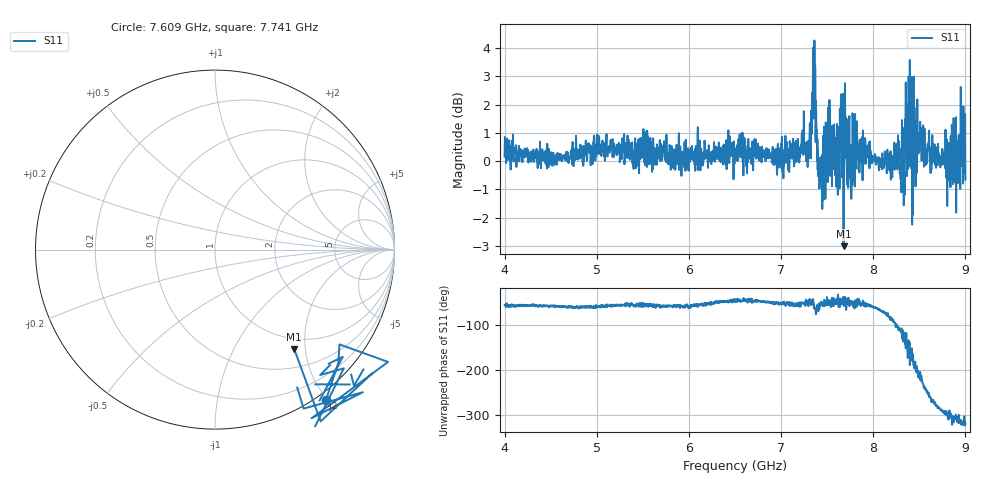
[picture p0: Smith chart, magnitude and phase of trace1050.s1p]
! Created with skrf 1.8.0 (http://scikit-rf.org).
# Hz S RI R 50.0
!freq ReS11 ImS11
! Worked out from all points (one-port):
!   1601 points, 4 GHz to 9 GHz, reference 50 ohm
!   lowest |S11| = -3.0 dB at 7.678 GHz (marker M1), VSWR 5.83, Z = 40.4 - j89.4 ohm
!   |S11| at or under -10 dB: nowhere
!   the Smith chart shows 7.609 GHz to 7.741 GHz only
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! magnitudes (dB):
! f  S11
! 4 GHz  0.2
! 4.625 GHz  0.0
! 5.25 GHz  0.0
! 5.875 GHz  0.4
! 6.5 GHz  0.4
! 7.125 GHz  0.3
! 7.297 GHz  0.7
! 7.353 GHz  1.5
! 7.372 GHz  3.3
! 7.4 GHz  0.4
! 7.428 GHz  0.1
! 7.509 GHz  0.0
! 7.609 GHz  0.4
! 7.65 GHz  2.4
! 7.678 GHz  -3.0
! 7.75 GHz  0.3
! 7.891 GHz  0.6
! 8.181 GHz  0.3
! 8.259 GHz  0.3
! 8.316 GHz  0.4
! 8.375 GHz  -0.3
! 8.447 GHz  1.9
! 8.503 GHz  1.0
! 8.812 GHz  0.5
! 8.872 GHz  1.5
! 8.919 GHz  -0.8
! 8.972 GHz  0.8
! 9 GHz  -0.7
